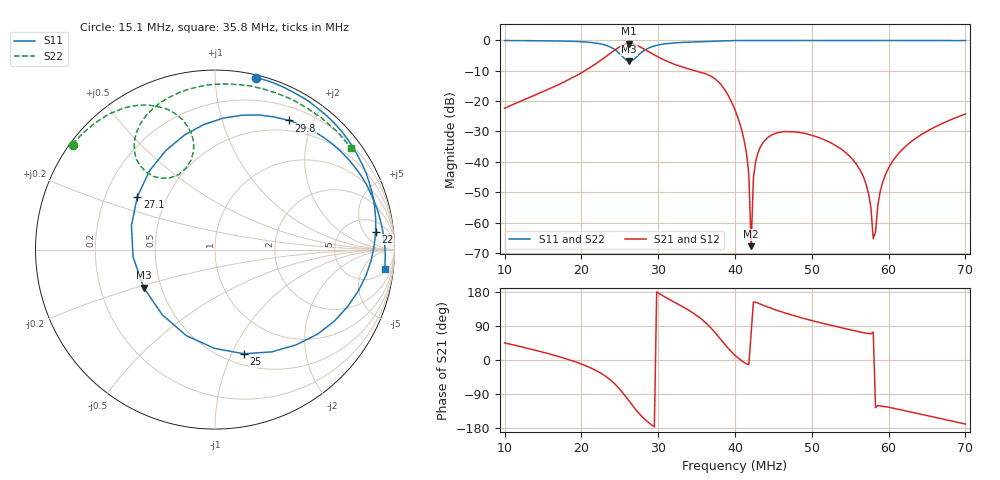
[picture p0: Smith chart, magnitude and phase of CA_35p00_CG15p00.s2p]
#  HZ  S  RI  R  50.00
! Rohde & Schwarz ZVT8 8Ports - Version 4.11 - 1300.0000k08 SN: 100242
! Date: 2026-07-31 14:46:10
! Measurements: S11 S21 S12 S22
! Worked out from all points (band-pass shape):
!   201 points, 10 MHz to 70 MHz, reference 50 ohm
!   highest |S21| = -1.11 dB at 26.2 MHz (marker M1); lowest = -67.8 dB at 42.1 MHz (marker M2)
!   |S21| within 3 dB of the highest: 23.83 MHz to 29.04 MHz (5.208 MHz wide, 19.7 % of centre)
!   lowest |S11| = -6.9 dB at 26.2 MHz (marker M3), VSWR 2.64, Z = 20 - j10.6 ohm
!   |S11| at or under -10 dB: nowhere
!   |S22| runs from -6.7 to 0.0 dB; largest |S21 - S12| = 0.0027
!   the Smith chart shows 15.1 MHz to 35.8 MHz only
!   S11 on the Smith chart (normalised r, x): 15.1 MHz: 0.02, +1.27; 22 MHz: 9, +10; 25 MHz: 0.61, -1.12; 27.1 MHz: 0.34, +0.28; 29.8 MHz: 0.36, +1.67; 35.8 MHz: 6, -15
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1e7  -0.3986 0.9129  0.0537 0.054  0.0538 0.0541  -0.918 0.3867
1.51e7  0.229 0.9586  0.1365 0.0491  0.136 0.0493  -0.793 0.5851
2.02e7  0.8179 0.4793  0.2965 -0.064  0.2955 -0.0637  -0.556 0.7692
2.2e7  0.8955 0.0998  0.3709 -0.2032  0.3711 -0.2025  -0.4071 0.8051
2.5e7  0.161 -0.5804  0.1748 -0.7651  0.1743 -0.7651  -0.119 0.5994
2.62e7  -0.3972 -0.2122  -0.2751 -0.8359  -0.2734 -0.8351  -0.1998 0.4194
2.71e7  -0.4324 0.2953  -0.5577 -0.6272  -0.5577 -0.6272  -0.3443 0.4082
2.98e7  0.4121 0.7198  -0.5495 0.0037  -0.5497 0.00389  -0.3959 0.731
3.01e7  0.4845 0.6924  -0.5235 0.04  -0.5226 0.0393  -0.371 0.7621
3.58e7  0.9472 -0.1096  -0.076 0.2818  -0.0761 0.2814  0.7594 0.5655
3.76e7  0.9115 -0.3375  0.0835 0.2053  0.0839 0.2057  0.8745 -0.4009
4e7  0.7762 -0.6221  0.0698 0.0155  0.0697 0.0153  -0.4622 -0.8731
4.15e7  0.6462 -0.76  0.0136 -0.00246  0.0136 -0.00227  -0.8973 -0.428
4.18e7  0.6165 -0.7851  0.00619 -0.0013  0.00621 -0.00138  -0.9331 -0.3413
4.21e7  0.5875 -0.8068  0.000143 0.000381  0.000163 0.000394  -0.9599 -0.2598
4.24e7  0.5576 -0.827  -0.00486 0.0025  -0.00486 0.00233  -0.9779 -0.1837
4.33e7  0.4655 -0.8836  -0.0148 0.00942  -0.0147 0.00931  -0.9954 0.0185
5.02e7  -0.3074 -0.9499  -0.00604 0.0263  -0.00622 0.0262  -0.6922 0.7169
5.62e7  -0.8315 -0.5501  0.00206 0.00734  0.00203 0.00732  -0.3999 0.9135
5.8e7  -0.9242 -0.3739  0.000152 0.00052  0.000125 0.000516  -0.3155 0.9462
6.01e7  -0.9846 -0.1502  -0.00477 -0.00682  -0.00475 -0.00683  -0.2198 0.9724
7e7  -0.5635 0.8197  -0.0604 -0.0117  -0.0601 -0.0115  0.213 0.9724
